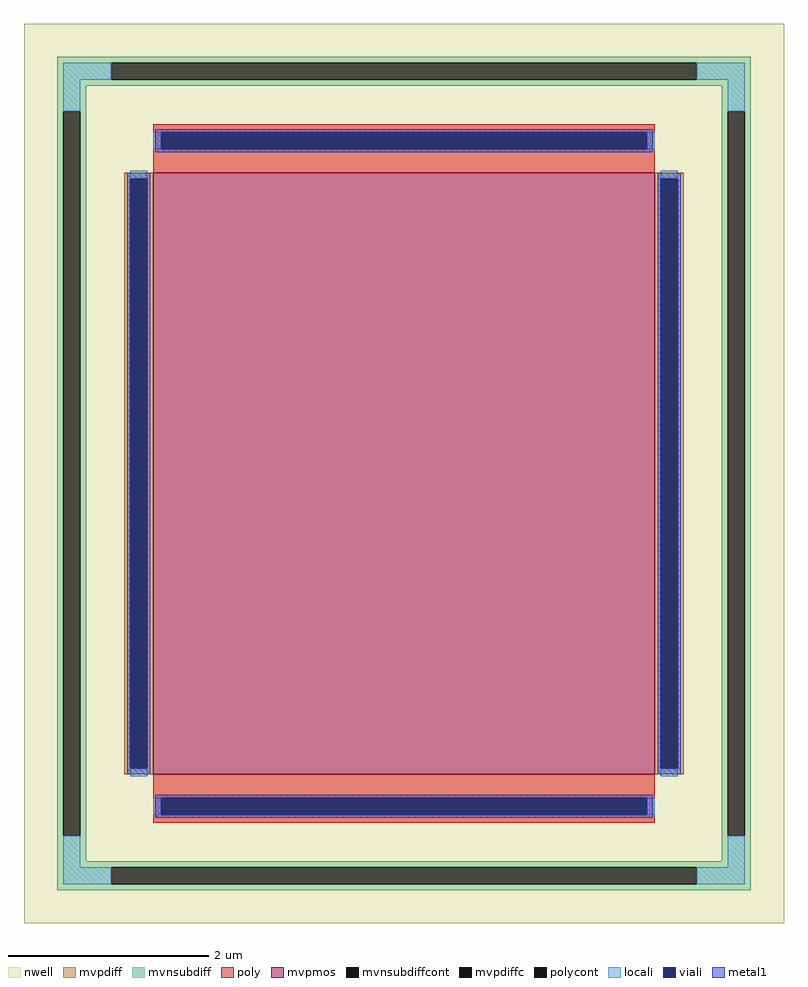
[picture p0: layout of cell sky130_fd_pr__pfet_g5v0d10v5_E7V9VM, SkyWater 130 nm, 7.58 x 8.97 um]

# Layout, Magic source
magic
tech sky130A
magscale 1 2
<< nwell >>
rect -758 -897 758 897
<< mvpmos >>
rect -500 -600 500 600
<< mvpdiff >>
rect -558 588 -500 600
rect -558 -588 -546 588
rect -512 -588 -500 588
rect -558 -600 -500 -588
rect 500 588 558 600
rect 500 -588 512 588
rect 546 -588 558 588
rect 500 -600 558 -588
<< mvpdiffc >>
rect -546 -588 -512 588
rect 512 -588 546 588
<< mvnsubdiff >>
rect -692 819 692 831
rect -692 785 -584 819
rect 584 785 692 819
rect -692 773 692 785
rect -692 723 -634 773
rect -692 -723 -680 723
rect -646 -723 -634 723
rect 634 723 692 773
rect -692 -773 -634 -723
rect 634 -723 646 723
rect 680 -723 692 723
rect 634 -773 692 -723
rect -692 -785 692 -773
rect -692 -819 -584 -785
rect 584 -819 692 -785
rect -692 -831 692 -819
<< mvnsubdiffcont >>
rect -584 785 584 819
rect -680 -723 -646 723
rect 646 -723 680 723
rect -584 -819 584 -785
<< poly >>
rect -500 681 500 697
rect -500 647 -484 681
rect 484 647 500 681
rect -500 600 500 647
rect -500 -647 500 -600
rect -500 -681 -484 -647
rect 484 -681 500 -647
rect -500 -697 500 -681
<< polycont >>
rect -484 647 484 681
rect -484 -681 484 -647
<< locali >>
rect -680 785 -584 819
rect 584 785 680 819
rect -680 723 -646 785
rect 646 723 680 785
rect -500 647 -484 681
rect 484 647 500 681
rect -546 588 -512 604
rect -546 -604 -512 -588
rect 512 588 546 604
rect 512 -604 546 -588
rect -500 -681 -484 -647
rect 484 -681 500 -647
rect -680 -785 -646 -723
rect 646 -785 680 -723
rect -680 -819 -584 -785
rect 584 -819 680 -785
<< viali >>
rect -484 647 484 681
rect -546 -588 -512 588
rect 512 -588 546 588
rect -484 -681 484 -647
<< metal1 >>
rect -496 681 496 687
rect -496 647 -484 681
rect 484 647 496 681
rect -496 641 496 647
rect -552 588 -506 600
rect -552 -588 -546 588
rect -512 -588 -506 588
rect -552 -600 -506 -588
rect 506 588 552 600
rect 506 -588 512 588
rect 546 -588 552 588
rect 506 -600 552 -588
rect -496 -647 496 -641
rect -496 -681 -484 -647
rect 484 -681 496 -647
rect -496 -687 496 -681
<< properties >>
string FIXED_BBOX -663 -802 663 802
string gencell sky130_fd_pr__pfet_g5v0d10v5
string library sky130
string parameters w 6.0 l 5.0 m 1 nf 1 diffcov 100 polycov 100 guard 1 glc 1 grc 1 gtc 1 gbc 1 tbcov 100 rlcov 100 topc 1 botc 1 poverlap 0 doverlap 1 lmin 0.50 wmin 0.42 compatible {sky130_fd_pr__pfet_01v8  sky130_fd_pr__pfet_01v8_lvt sky130_fd_pr__pfet_01v8_hvt  sky130_fd_pr__pfet_g5v0d10v5} full_metal 1 viasrc 100 viadrn 100 viagate 100 viagb 0 viagr 0 viagl 0 viagt 0
<< end >>
